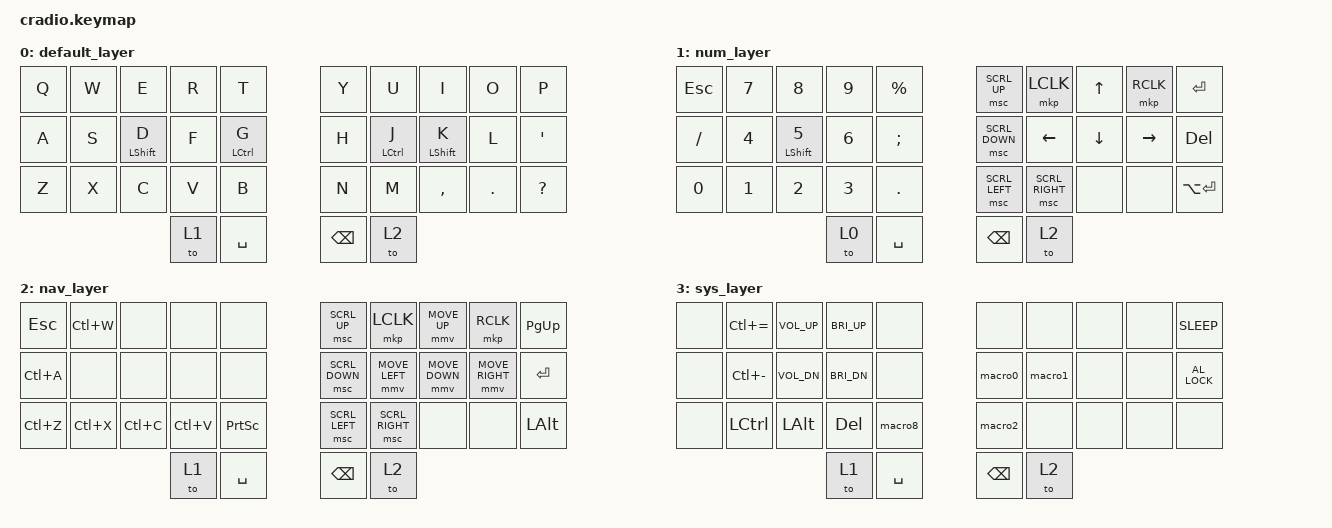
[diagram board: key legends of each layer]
/*
 * Copyright (c) 2020 The ZMK Contributors
 *
 * SPDX-License-Identifier: MIT
 */

#include <dt-bindings/zmk/mouse.h>
#include <behaviors.dtsi>
#include <dt-bindings/zmk/keys.h>
#include <dt-bindings/zmk/pointing.h>

/ {
    macros {
        macro0: macro0 {
            compatible = "zmk,behavior-macro";
            #binding-cells = <0>;
            bindings =
                <&macro_tap>,
                <&kp H &kp T &kp T &kp P &kp S &kp COLON &kp FSLH &kp FSLH>,
                <&macro_tap>,
                <&kp R &kp A &kp C &kp I &kp N &kp G &kp DOT>,
                <&macro_tap>,
                <&kp H &kp K &kp J &kp C &kp DOT &kp C &kp O &kp M>,
                <&macro_tap>,
                <&kp FSLH &kp R &kp A &kp C &kp I &kp N &kp G &kp FSLH>,
                <&macro_tap>,
                <&kp I &kp N &kp F &kp O &kp R &kp M &kp A &kp T &kp I &kp O &kp N>,
                <&macro_tap>,
                <&kp FSLH &kp C &kp H &kp I &kp N &kp E &kp S &kp E &kp FSLH>,
                <&macro_tap>,
                <&kp R &kp A &kp C &kp I &kp N &kp G &kp FSLH>,
                <&macro_tap>,
                <&kp E &kp N &kp T &kp R &kp I &kp E &kp S &kp DOT>,
                <&macro_tap>,
                <&kp A &kp S &kp P &kp X>,
                <&macro_tap>,
                <&kp RET>;
        };

        macro1: macro1 {
            compatible = "zmk,behavior-macro";
            #binding-cells = <0>;
            bindings =
                <&macro_tap>,
                <&kp H &kp T &kp T &kp P &kp S &kp COLON &kp FSLH &kp FSLH>,
                <&macro_tap>,
                <&kp R &kp A &kp C &kp I &kp N &kp G &kp DOT>,
                <&macro_tap>,
                <&kp H &kp K &kp J &kp C &kp DOT &kp C &kp O &kp M>,
                <&macro_tap>,
                <&kp FSLH &kp R &kp A &kp C &kp I &kp N &kp G &kp FSLH>,
                <&macro_tap>,
                <&kp I &kp N &kp F &kp O &kp R &kp M &kp A &kp T &kp I &kp O &kp N>,
                <&macro_tap>,
                <&kp FSLH &kp C &kp H &kp I &kp N &kp E &kp S &kp E &kp FSLH>,
                <&macro_tap>,
                <&kp R &kp A &kp C &kp I &kp N &kp G &kp FSLH>,
                <&macro_tap>,
                <&kp R &kp A &kp C &kp E &kp C &kp A &kp R &kp D &kp DOT>,
                <&macro_tap>,
                <&kp A &kp S &kp P &kp X>,
                <&macro_tap>,
                <&kp RET>;
        };

        macro2: macro2 {
            compatible = "zmk,behavior-macro";
            #binding-cells = <0>;
            bindings =
                <&macro_tap>,
                <&kp S &kp E &kp L &kp E &kp C &kp T &kp SPACE>,
                <&macro_tap>,
                <&kp C &kp O &kp U &kp N &kp T &kp LPAR &kp STAR &kp RPAR>,
                <&macro_tap>,
                <&kp SPACE &kp F &kp R &kp O &kp M &kp SPACE>;
        };

        macro8: macro8 {
            compatible = "zmk,behavior-macro";
            #binding-cells = <0>;
            bindings =
                <&macro_tap>,
                <&kp R &kp N0 &kp M &kp A &kp N &kp T &kp L &kp C>,
                <&macro_tap>,
                <&kp W &kp A &kp R &kp R &kp I &kp O &kp R &kp N8>,
                <&macro_tap>,
                <&kp RET>;
        };
    };

    combos {
        compatible = "zmk,combos";

        combo_tab {
            timeout-ms = <50>;
            key-positions = <20 21>;
            bindings = <&kp TAB>;
        };

        combo_caps {
            timeout-ms = <50>;
            key-positions = <23 13>;
            bindings = <&kp CAPS>;
        };

        combo_enter {
            timeout-ms = <50>;
            key-positions = <9 32>;
            bindings = <&kp RET>;
        };

        combo_1 {
            timeout-ms = <50>;
            key-positions = <0 1>;
            bindings = <&kp N1>;
        };

        combo_2 {
            timeout-ms = <50>;
            key-positions = <0 2>;
            bindings = <&kp N2>;
        };

        combo_3 {
            timeout-ms = <50>;
            key-positions = <0 3>;
            bindings = <&kp N3>;
        };

        combo_4 {
            timeout-ms = <50>;
            key-positions = <10 11>;
            bindings = <&kp N4>;
        };

        combo_5 {
            timeout-ms = <50>;
            key-positions = <11 13>;
            bindings = <&kp N5>;
        };

        combo_6 {
            timeout-ms = <50>;
            key-positions = <10 13>;
            bindings = <&kp N6>;
        };

        combo_minus {
            timeout-ms = <50>;
            key-positions = <7 6>;
            bindings = <&kp MINUS>;
        };

        combo_equal {
            timeout-ms = <50>;
            key-positions = <8 7>;
            bindings = <&kp EQUAL>;
        };

        combo_escape {
            timeout-ms = <50>;
            key-positions = <0 9>;
            bindings = <&kp ESC>;
        };

        combo_escape_alt {
            timeout-ms = <50>;
            key-positions = <0 1 2>;
            bindings = <&kp ESC>;
        };

        combo_to_layer0 {
            timeout-ms = <50>;
            key-positions = <30 31>;
            bindings = <&to 0>;
        };

        combo_to_layer3 {
            timeout-ms = <50>;
            key-positions = <30 32>;
            bindings = <&to 3>;
        };

        combo_lgui {
            timeout-ms = <50>;
            key-positions = <4 3>;
            bindings = <&kp LGUI>;
        };

        combo_lpar {
            timeout-ms = <50>;
            key-positions = <20 23>;
            bindings = <&kp LPAR>;
        };

        combo_rbkt {
            timeout-ms = <50>;
            key-positions = <19 18>;
            bindings = <&kp RBKT>;
        };

        combo_lbkt {
            timeout-ms = <50>;
            key-positions = <17 16>;
            bindings = <&kp LBKT>;
        };
    };

    keymap {
        compatible = "zmk,keymap";

        default_layer {
            bindings = <
&kp Q  &kp W  &kp E        &kp R  &kp T          &kp Y     &kp U        &kp I        &kp O    &kp P
&kp A  &kp S  &mt LSHFT D  &kp F  &mt LCTRL G    &kp H     &mt LCTRL J  &mt LSHFT K  &kp L    &kp SQT
&kp Z  &kp X  &kp C        &kp V  &kp B          &kp N     &kp M        &kp COMMA    &kp DOT  &kp QMARK
                           &to 1  &kp SPACE      &kp BSPC  &to 2
            >;
        };

        num_layer {
            bindings = <
&kp ESC   &kp N7  &kp N8        &kp N9  &kp PRCNT    &msc SCRL_UP    &mkp LCLK        &kp UP    &mkp RCLK  &kp RET
&kp FSLH  &kp N4  &mt LSHFT N5  &kp N6  &kp SEMI     &msc SCRL_DOWN  &kp LEFT         &kp DOWN  &kp RIGHT  &kp DEL
&kp N0    &kp N1  &kp N2        &kp N3  &kp DOT      &msc SCRL_LEFT  &msc SCRL_RIGHT  &none     &none      &kp LA(RET)
                                &to 0   &kp SPACE    &kp BSPC        &to 2
            >;
        };

        nav_layer {
            bindings = <
&kp ESC    &kp LC(W)  &none      &none      &none        &msc SCRL_UP    &mkp LCLK        &mmv MOVE_UP    &mkp RCLK        &kp PG_UP
&kp LC(A)  &none      &none      &none      &none        &msc SCRL_DOWN  &mmv MOVE_LEFT   &mmv MOVE_DOWN  &mmv MOVE_RIGHT  &kp RET
&kp LC(Z)  &kp LC(X)  &kp LC(C)  &kp LC(V)  &kp PSCRN    &msc SCRL_LEFT  &msc SCRL_RIGHT  &none           &none            &kp LALT
                                 &to 1      &kp SPACE    &kp BSPC        &to 2
            >;
        };

        sys_layer {
            bindings = <
&none  &kp LC(EQUAL)  &kp C_VOL_UP  &kp C_BRI_UP  &none        &none     &none    &none  &none  &kp C_SLEEP
&none  &kp LC(MINUS)  &kp C_VOL_DN  &kp C_BRI_DN  &none        &macro0   &macro1  &none  &none  &kp C_AL_LOCK
&none  &kp LCTRL      &kp LALT      &kp DEL       &macro8      &macro2   &none    &none  &none  &none
                                    &to 1         &kp SPACE    &kp BSPC  &to 2
            >;
        };
    };
};
